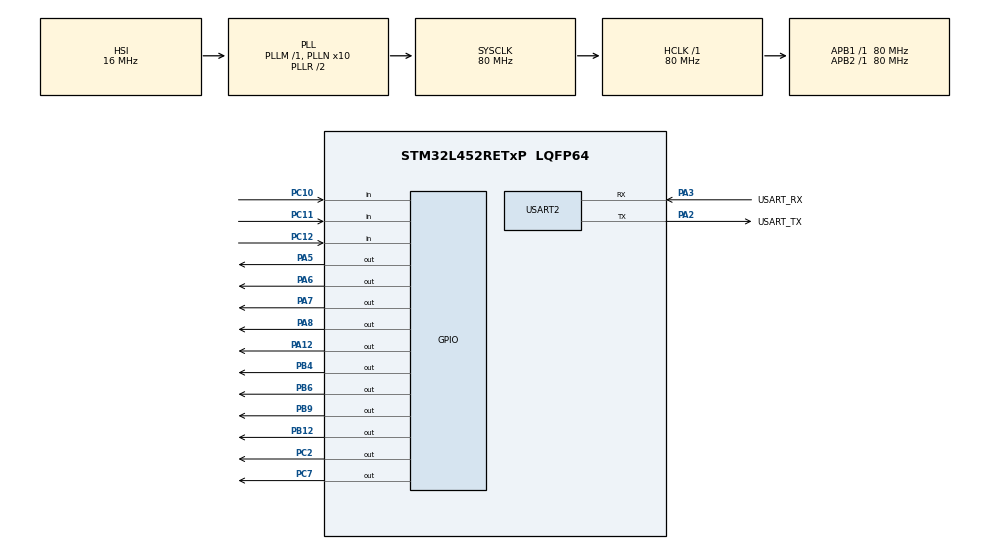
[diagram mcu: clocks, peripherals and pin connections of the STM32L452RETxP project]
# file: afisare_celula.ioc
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Mcu.Family=STM32L4
Mcu.Name=STM32L452RETxP
Mcu.Package=LQFP64
NVIC.PriorityGroup=NVIC_PRIORITYGROUP_4
PA12.Signal=GPIO_Output
PA13\ (JTMS/SWDIO).GPIO_Label=TMS
PA13\ (JTMS/SWDIO).Mode=Serial_Wire
PA13\ (JTMS/SWDIO).Signal=SYS_JTMS-SWDIO
PA14\ (JTCK/SWCLK).GPIO_Label=TCK
PA14\ (JTCK/SWCLK).Mode=Serial_Wire
PA14\ (JTCK/SWCLK).Signal=SYS_JTCK-SWCLK
PA2.GPIO_Label=USART_TX
PA2.GPIO_Mode=GPIO_MODE_AF_PP
PA2.GPIO_PuPd=GPIO_NOPULL
PA2.GPIO_Speed=GPIO_SPEED_FREQ_VERY_HIGH
PA2.Mode=Asynchronous
PA2.Signal=USART2_TX
PA3.GPIO_Label=USART_RX
PA3.GPIO_Mode=GPIO_MODE_AF_PP
PA3.GPIO_PuPd=GPIO_NOPULL
PA3.GPIO_Speed=GPIO_SPEED_FREQ_VERY_HIGH
PA3.Mode=Asynchronous
PA3.Signal=USART2_RX
PA5.Signal=GPIO_Output
PA6.Signal=GPIO_Output
PA7.Signal=GPIO_Output
PA8.Signal=GPIO_Output
PB12.GPIO_PuPd=GPIO_PULLDOWN
PB12.Signal=GPIO_Output
PB4\ (NJTRST).GPIO_PuPd=GPIO_PULLDOWN
PB4\ (NJTRST).Signal=GPIO_Output
PB6.Signal=GPIO_Output
PB9.GPIO_PuPd=GPIO_PULLDOWN
PB9.Signal=GPIO_Output
PC10.GPIO_PuPd=GPIO_PULLUP
PC10.Signal=GPIO_Input
PC11.GPIO_PuPd=GPIO_PULLUP
PC11.Signal=GPIO_Input
PC12.GPIO_PuPd=GPIO_PULLUP
PC12.Signal=GPIO_Input
PC2.GPIO_PuPd=GPIO_PULLDOWN
PC2.Signal=GPIO_Output
PC7.Signal=GPIO_Output
ProjectManager.HeapSize=0x200
ProjectManager.StackSize=0x400
ProjectManager.TargetToolchain=STM32CubeIDE
RCC.ADCFreq_Value=64000000
RCC.AHBFreq_Value=80000000
RCC.APB1Freq_Value=80000000
RCC.APB1TimFreq_Value=80000000
RCC.APB2Freq_Value=80000000
RCC.APB2TimFreq_Value=80000000
RCC.CortexFreq_Value=80000000
RCC.HCLKFreq_Value=80000000
RCC.HSE_VALUE=8000000
RCC.HSI48_VALUE=48000000
RCC.HSI_VALUE=16000000
RCC.LSE_VALUE=32768
RCC.MSI_VALUE=4000000
RCC.PLLN=10
RCC.PLLSourceVirtual=RCC_PLLSOURCE_HSI
RCC.PREFETCH_ENABLE=1
RCC.SYSCLKFreq_VALUE=80000000
RCC.SYSCLKSource=RCC_SYSCLKSOURCE_PLLCLK
RCC.USBFreq_Value=64000000
RCC.VCOOutputFreq_Value=160000000
USART2.VirtualMode-Asynchronous=VM_ASYNC
board=NUCLEO-L452RE-P

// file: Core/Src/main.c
/* USER CODE BEGIN Header */
/**
  ******************************************************************************
  * @file           : main.c
  * @brief          : Main program body
  ******************************************************************************
  * @attention
  *
  * Copyright (c) 2024 STMicroelectronics.
  * All rights reserved.
  *
  * This software is licensed under terms that can be found in the LICENSE file
  * in the root directory of this software component.
  * If no LICENSE file comes with this software, it is provided AS-IS.
  *
  ******************************************************************************
  */
/* USER CODE END Header */
#include "main.h"

/* USER CODE BEGIN Includes */
 #include <stdio.h>
#include <string.h>
/* USER CODE END Includes */

/* USER CODE BEGIN PTD */
#define R1_PORT GPIOB
#define R1_PIN GPIO_PIN_4

#define R2_PORT GPIOB
#define R2_PIN GPIO_PIN_9

#define R3_PORT GPIOB
#define R3_PIN GPIO_PIN_12

#define R4_PORT GPIOC
#define R4_PIN GPIO_PIN_2

#define C1_PORT GPIOC
#define C1_PIN GPIO_PIN_12

#define C2_PORT GPIOC
#define C2_PIN GPIO_PIN_11

#define C3_PORT GPIOC
#define C3_PIN GPIO_PIN_10
/* USER CODE END PTD */

UART_HandleTypeDef huart2;

void SystemClock_Config(void);
static void MX_GPIO_Init(void);
static void MX_USART2_UART_Init(void);

/* USER CODE BEGIN 0 */
uint8_t segmentNumber[10] = {
        0x3f,  // 0
        0x06,  // 1
        0x5b,  // 2
        0x4f,  // 3
        0x66,  // 4
        0x6d,  // 5
        0x7d,  // 6
        0x07,  // 7
        0x7f,  // 8
        0x67   // 9
};

void SevenSegment_Update(uint8_t number){
	HAL_GPIO_WritePin(GPIOA, GPIO_PIN_8, ((number>>0)&0x01));
	HAL_GPIO_WritePin(GPIOA, GPIO_PIN_5, ((number>>1)&0x01));
	HAL_GPIO_WritePin(GPIOA, GPIO_PIN_6, ((number>>2)&0x01));
	HAL_GPIO_WritePin(GPIOA, GPIO_PIN_7, ((number>>3)&0x01));
	HAL_GPIO_WritePin(GPIOB, GPIO_PIN_6, ((number>>4)&0x01));
	HAL_GPIO_WritePin(GPIOC, GPIO_PIN_7, ((number>>5)&0x01));
	HAL_GPIO_WritePin(GPIOA, GPIO_PIN_12, ((number>>6)&0x01));
}

/* USER CODE END 0 */

int main(void)
{
  /* USER CODE BEGIN 1 */
	uint8_t key = 0x05 ;
	//char bfr[2];

		uint8_t read_keypad (void)
		{
			/* Make ROW 1 LOW and all other ROWs HIGH */
			HAL_GPIO_WritePin (R1_PORT, R1_PIN, GPIO_PIN_RESET);  //Pull the R1 low
			HAL_GPIO_WritePin (R2_PORT, R2_PIN, GPIO_PIN_SET);  // Pull the R2 High
			HAL_GPIO_WritePin (R3_PORT, R3_PIN, GPIO_PIN_SET);  // Pull the R3 High
			HAL_GPIO_WritePin (R4_PORT, R4_PIN, GPIO_PIN_SET);  // Pull the R4 High

			if (!(HAL_GPIO_ReadPin (C1_PORT, C1_PIN)))   // if the Col 1 is low
			{
				while (!(HAL_GPIO_ReadPin (C1_PORT, C1_PIN)));   // wait till the button is pressed
				return 1;
			}

			if (!(HAL_GPIO_ReadPin (C2_PORT, C2_PIN)))   // if the Col 2 is low
			{
				while (!(HAL_GPIO_ReadPin (C2_PORT, C2_PIN)));   // wait till the button is pressed
				return 2;
			}

			if (!(HAL_GPIO_ReadPin (C3_PORT, C3_PIN)))   // if the Col 3 is low
			{
				while (!(HAL_GPIO_ReadPin (C3_PORT, C3_PIN)));   // wait till the button is pressed
				return 3;
			}

			/* Make ROW 2 LOW and all other ROWs HIGH */
			HAL_GPIO_WritePin (R1_PORT, R1_PIN, GPIO_PIN_SET);  //Pull the R1 low
			HAL_GPIO_WritePin (R2_PORT, R2_PIN, GPIO_PIN_RESET);  // Pull the R2 High
			HAL_GPIO_WritePin (R3_PORT, R3_PIN, GPIO_PIN_SET);  // Pull the R3 High
			HAL_GPIO_WritePin (R4_PORT, R4_PIN, GPIO_PIN_SET);  // Pull the R4 High

			if (!(HAL_GPIO_ReadPin (C1_PORT, C1_PIN)))   // if the Col 1 is low
			{
				while (!(HAL_GPIO_ReadPin (C1_PORT, C1_PIN)));   // wait till the button is pressed
				return 4;
			}

			if (!(HAL_GPIO_ReadPin (C2_PORT, C2_PIN)))   // if the Col 2 is low
			{
				while (!(HAL_GPIO_ReadPin (C2_PORT, C2_PIN)));   // wait till the button is pressed
				return 5;
			}

			if (!(HAL_GPIO_ReadPin (C3_PORT, C3_PIN)))   // if the Col 3 is low
			{
				while (!(HAL_GPIO_ReadPin (C3_PORT, C3_PIN)));   // wait till the button is pressed
				return 6;
			}

			/* Make ROW 3 LOW and all other ROWs HIGH */
			HAL_GPIO_WritePin (R1_PORT, R1_PIN, GPIO_PIN_SET);  //Pull the R1 low
			HAL_GPIO_WritePin (R2_PORT, R2_PIN, GPIO_PIN_SET);  // Pull the R2 High
			HAL_GPIO_WritePin (R3_PORT, R3_PIN, GPIO_PIN_RESET);  // Pull the R3 High
			HAL_GPIO_WritePin (R4_PORT, R4_PIN, GPIO_PIN_SET);  // Pull the R4 High

			if (!(HAL_GPIO_ReadPin (C1_PORT, C1_PIN)))   // if the Col 1 is low
			{
				while (!(HAL_GPIO_ReadPin (C1_PORT, C1_PIN)));   // wait till the button is pressed
				return 7;
			}

			if (!(HAL_GPIO_ReadPin (C2_PORT, C2_PIN)))   // if the Col 2 is low
			{
				while (!(HAL_GPIO_ReadPin (C2_PORT, C2_PIN)));   // wait till the button is pressed
				return 8;
			}

			if (!(HAL_GPIO_ReadPin (C3_PORT, C3_PIN)))   // if the Col 3 is low
			{
				while (!(HAL_GPIO_ReadPin (C3_PORT, C3_PIN)));   // wait till the button is pressed
				return 9;
			}

			/* Make ROW 4 LOW and all other ROWs HIGH */
			HAL_GPIO_WritePin (R1_PORT, R1_PIN, GPIO_PIN_SET);  //Pull the R1 low
			HAL_GPIO_WritePin (R2_PORT, R2_PIN, GPIO_PIN_SET);  // Pull the R2 High
			HAL_GPIO_WritePin (R3_PORT, R3_PIN, GPIO_PIN_SET);  // Pull the R3 High
			HAL_GPIO_WritePin (R4_PORT, R4_PIN, GPIO_PIN_RESET);  // Pull the R4 High

			if (!(HAL_GPIO_ReadPin (C1_PORT, C1_PIN)))   // if the Col 1 is low
			{
				while (!(HAL_GPIO_ReadPin (C1_PORT, C1_PIN)));   // wait till the button is pressed
				return 42;
			}

			if (!(HAL_GPIO_ReadPin (C2_PORT, C2_PIN)))   // if the Col 2 is low
			{
				while (!(HAL_GPIO_ReadPin (C2_PORT, C2_PIN)));   // wait till the button is pressed
				return 0;
			}

			if (!(HAL_GPIO_ReadPin (C3_PORT, C3_PIN)))   // if the Col 3 is low
			{
				while (!(HAL_GPIO_ReadPin (C3_PORT, C3_PIN)));   // wait till the button is pressed
				return 35;
			}

			 return 0xFF;
		}
  /* USER CODE END 1 */

  /* MCU Configuration--------------------------------------------------------*/

  /* Reset of all peripherals, Initializes the Flash interface and the Systick. */
  HAL_Init();

  /* Configure the system clock */
  SystemClock_Config();

  /* Initialize all configured peripherals */
  MX_GPIO_Init();
  MX_USART2_UART_Init();

  /* Infinite loop */
  while (1)
  {

    /* USER CODE BEGIN 3 */
	  /* Așteaptă până când este apăsată o tastă */
	  	   key = read_keypad();

	  	   /* Dacă o tastă a fost apăsată și nu am ajuns la lungimea maximă a PIN-ului */
	  	   if (key != 0xFF)
	  	   {
	  	     SevenSegment_Update(segmentNumber[key]);

	  	     /* Așteaptă o perioadă scurtă pentru a putea vedea cifra pe display */
	  	     HAL_Delay(500);
	  	   }
  }
  /* USER CODE END 3 */
}

void SystemClock_Config(void)
{
  RCC_OscInitTypeDef RCC_OscInitStruct = {0};
  RCC_ClkInitTypeDef RCC_ClkInitStruct = {0};

  /** Configure the main internal regulator output voltage
  */
  if (HAL_PWREx_ControlVoltageScaling(PWR_REGULATOR_VOLTAGE_SCALE1) != HAL_OK)
  {
    Error_Handler();
  }

  /** Initializes the RCC Oscillators according to the specified parameters
  * in the RCC_OscInitTypeDef structure.
  */
  RCC_OscInitStruct.OscillatorType = RCC_OSCILLATORTYPE_HSI;
  RCC_OscInitStruct.HSIState = RCC_HSI_ON;
  RCC_OscInitStruct.HSICalibrationValue = 64;
  RCC_OscInitStruct.PLL.PLLState = RCC_PLL_ON;
  RCC_OscInitStruct.PLL.PLLSource = RCC_PLLSOURCE_HSI;
  RCC_OscInitStruct.PLL.PLLM = 1;
  RCC_OscInitStruct.PLL.PLLN = 10;
  RCC_OscInitStruct.PLL.PLLP = RCC_PLLP_DIV7;
  RCC_OscInitStruct.PLL.PLLQ = RCC_PLLQ_DIV2;
  RCC_OscInitStruct.PLL.PLLR = RCC_PLLR_DIV2;
  if (HAL_RCC_OscConfig(&RCC_OscInitStruct) != HAL_OK)
  {
    Error_Handler();
  }

  /** Initializes the CPU, AHB and APB buses clocks
  */
  RCC_ClkInitStruct.ClockType = RCC_CLOCKTYPE_HCLK|RCC_CLOCKTYPE_SYSCLK
                              |RCC_CLOCKTYPE_PCLK1|RCC_CLOCKTYPE_PCLK2;
  RCC_ClkInitStruct.SYSCLKSource = RCC_SYSCLKSOURCE_PLLCLK;
  RCC_ClkInitStruct.AHBCLKDivider = RCC_SYSCLK_DIV1;
  RCC_ClkInitStruct.APB1CLKDivider = RCC_HCLK_DIV1;
  RCC_ClkInitStruct.APB2CLKDivider = RCC_HCLK_DIV1;

  if (HAL_RCC_ClockConfig(&RCC_ClkInitStruct, FLASH_LATENCY_4) != HAL_OK)
  {
    Error_Handler();
  }
}

static void MX_USART2_UART_Init(void)
{

  huart2.Instance = USART2;
  huart2.Init.BaudRate = 115200;
  huart2.Init.WordLength = UART_WORDLENGTH_8B;
  huart2.Init.StopBits = UART_STOPBITS_1;
  huart2.Init.Parity = UART_PARITY_NONE;
  huart2.Init.Mode = UART_MODE_TX_RX;
  huart2.Init.HwFlowCtl = UART_HWCONTROL_NONE;
  huart2.Init.OverSampling = UART_OVERSAMPLING_16;
  huart2.Init.OneBitSampling = UART_ONE_BIT_SAMPLE_DISABLE;
  huart2.AdvancedInit.AdvFeatureInit = UART_ADVFEATURE_NO_INIT;
  if (HAL_UART_Init(&huart2) != HAL_OK)
  {
    Error_Handler();
  }

}

static void MX_GPIO_Init(void)
{
  GPIO_InitTypeDef GPIO_InitStruct = {0};

  /* GPIO Ports Clock Enable */
  __HAL_RCC_GPIOC_CLK_ENABLE();
  __HAL_RCC_GPIOA_CLK_ENABLE();
  __HAL_RCC_GPIOB_CLK_ENABLE();

  /*Configure GPIO pin Output Level */
  HAL_GPIO_WritePin(GPIOC, GPIO_PIN_2|GPIO_PIN_7, GPIO_PIN_RESET);

  /*Configure GPIO pin Output Level */
  HAL_GPIO_WritePin(GPIOA, GPIO_PIN_5|GPIO_PIN_6|GPIO_PIN_7|GPIO_PIN_8
                          |GPIO_PIN_12, GPIO_PIN_RESET);

  /*Configure GPIO pin Output Level */
  HAL_GPIO_WritePin(GPIOB, GPIO_PIN_12|GPIO_PIN_4|GPIO_PIN_6|GPIO_PIN_9, GPIO_PIN_RESET);

  /*Configure GPIO pin : PC2 */
  GPIO_InitStruct.Pin = GPIO_PIN_2;
  GPIO_InitStruct.Mode = GPIO_MODE_OUTPUT_PP;
  GPIO_InitStruct.Pull = GPIO_PULLDOWN;
  GPIO_InitStruct.Speed = GPIO_SPEED_FREQ_LOW;
  HAL_GPIO_Init(GPIOC, &GPIO_InitStruct);

  /*Configure GPIO pins : PA5 PA6 PA7 PA8
                           PA12 */
  GPIO_InitStruct.Pin = GPIO_PIN_5|GPIO_PIN_6|GPIO_PIN_7|GPIO_PIN_8
                          |GPIO_PIN_12;
  GPIO_InitStruct.Mode = GPIO_MODE_OUTPUT_PP;
  GPIO_InitStruct.Pull = GPIO_NOPULL;
  GPIO_InitStruct.Speed = GPIO_SPEED_FREQ_LOW;
  HAL_GPIO_Init(GPIOA, &GPIO_InitStruct);

  /*Configure GPIO pins : PB12 PB4 PB9 */
  GPIO_InitStruct.Pin = GPIO_PIN_12|GPIO_PIN_4|GPIO_PIN_9;
  GPIO_InitStruct.Mode = GPIO_MODE_OUTPUT_PP;
  GPIO_InitStruct.Pull = GPIO_PULLDOWN;
  GPIO_InitStruct.Speed = GPIO_SPEED_FREQ_LOW;
  HAL_GPIO_Init(GPIOB, &GPIO_InitStruct);

  /*Configure GPIO pin : PC7 */
  GPIO_InitStruct.Pin = GPIO_PIN_7;
  GPIO_InitStruct.Mode = GPIO_MODE_OUTPUT_PP;
  GPIO_InitStruct.Pull = GPIO_NOPULL;
  GPIO_InitStruct.Speed = GPIO_SPEED_FREQ_LOW;
  HAL_GPIO_Init(GPIOC, &GPIO_InitStruct);

  /*Configure GPIO pins : PC10 PC11 PC12 */
  GPIO_InitStruct.Pin = GPIO_PIN_10|GPIO_PIN_11|GPIO_PIN_12;
  GPIO_InitStruct.Mode = GPIO_MODE_INPUT;
  GPIO_InitStruct.Pull = GPIO_PULLUP;
  HAL_GPIO_Init(GPIOC, &GPIO_InitStruct);

  /*Configure GPIO pin : PB6 */
  GPIO_InitStruct.Pin = GPIO_PIN_6;
  GPIO_InitStruct.Mode = GPIO_MODE_OUTPUT_PP;
  GPIO_InitStruct.Pull = GPIO_NOPULL;
  GPIO_InitStruct.Speed = GPIO_SPEED_FREQ_LOW;
  HAL_GPIO_Init(GPIOB, &GPIO_InitStruct);

}

void Error_Handler(void)
{
  __disable_irq();
  while (1)
  {
  }
}
